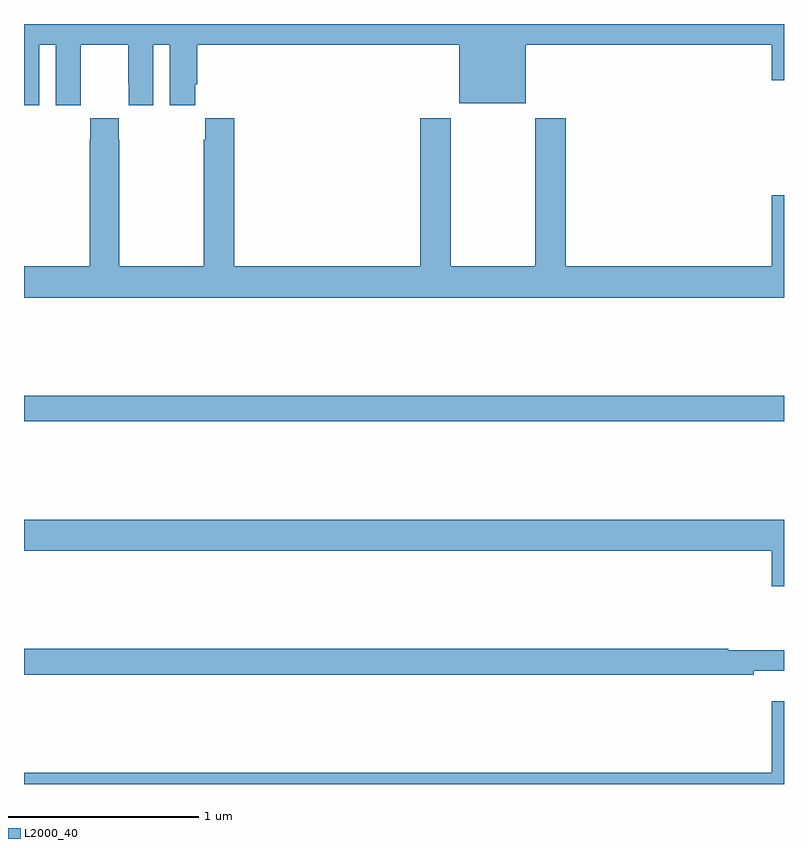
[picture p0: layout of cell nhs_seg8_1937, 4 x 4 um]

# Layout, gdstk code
import gdstk
lib = gdstk.Library(unit=1e-6, precision=1e-09)
def R(c, l, rs):  # rectangles x0, y0, x1, y1
    for r in rs: c.add(gdstk.rectangle(r[:2], r[2:], *l))
def P(c, l, *ps):  # polygons
    for p in ps: c.add(gdstk.Polygon(p, *l))
L2000_40 = (2000, 40)

nhs_seg8_1937 = lib.new_cell('nhs_seg8_1937')
R(nhs_seg8_1937, L2000_40, [(233,1155.808,237,1155.944)])
P(nhs_seg8_1937, L2000_40, [(233,1157.472),(233.08,1157.472),(233.08,1157.792),(233.168,1157.792),(233.168,1157.472),(233.298,1157.472),(233.298,1157.584),(233.299,1157.584),(233.299,1157.792),(233.549,1157.792),(233.549,1157.584),(233.55,1157.584),(233.55,1157.472),(233.68,1157.472),(233.68,1157.792),(233.768,1157.792),(233.768,1157.472),(233.902,1157.472),(233.902,1157.584),(233.912,1157.584),(233.912,1157.792),(235.292,1157.792),(235.292,1157.483),(235.642,1157.483),(235.642,1157.792),(236.936,1157.792),(236.936,1157.604),(237,1157.604),(237,1157.9),(233,1157.9)],
  [(237,1156.999),(236.936,1156.999),(236.936,1156.624),(235.85,1156.624),(235.85,1157.404),(235.69,1157.404),(235.69,1156.624),(235.245,1156.624),(235.245,1157.404),(235.085,1157.404),(235.085,1156.624),(234.107,1156.624),(234.107,1157.404),(233.953,1157.404),(233.953,1157.291),(233.947,1157.291),(233.947,1156.624),(233.502,1156.624),(233.502,1157.291),(233.499,1157.291),(233.499,1157.404),(233.349,1157.404),(233.349,1157.291),(233.347,1157.291),(233.347,1156.624),(233,1156.624),(233,1156.46),(237,1156.46)],
  [(233,1155.128),(236.936,1155.128),(236.936,1154.94),(237,1154.94),(237,1155.292),(233,1155.292)],
  [(236.84,1154.495),(237,1154.495),(237,1154.605),(236.707,1154.605),(236.707,1154.612),(233,1154.612),(233,1154.476),(236.84,1154.476)],
  [(237,1154.335),(236.936,1154.335),(236.936,1153.96),(233,1153.96),(233,1153.9),(237,1153.9)])

lib.write_gds('nhs_seg8_1937.gds')
